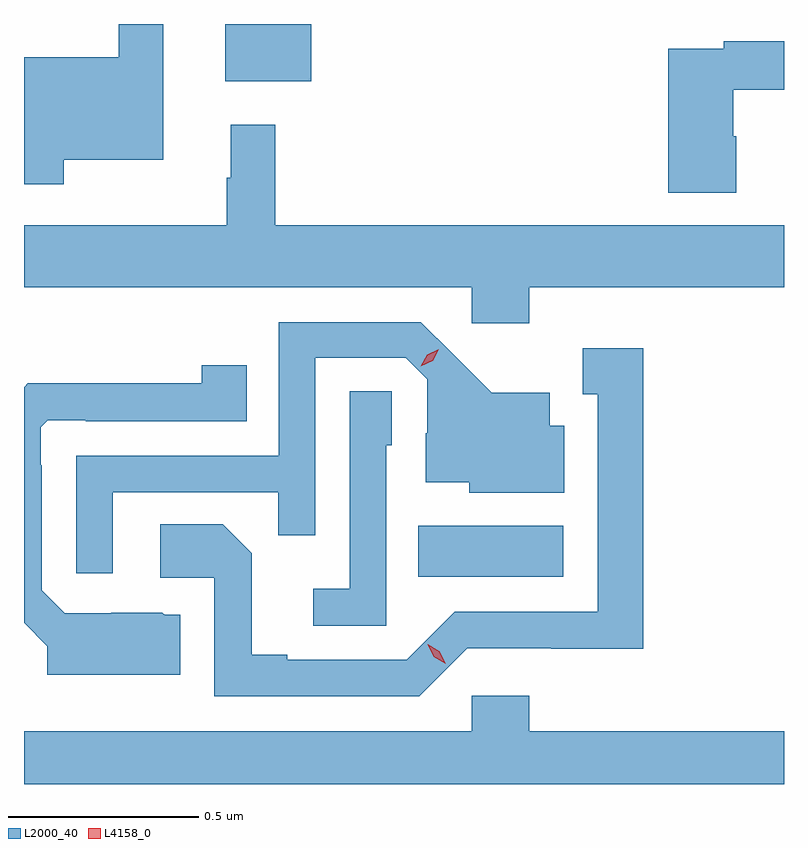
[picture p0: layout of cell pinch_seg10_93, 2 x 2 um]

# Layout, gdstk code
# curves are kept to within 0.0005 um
import gdstk
lib = gdstk.Library(unit=1e-6, precision=1e-09)
def R(c, l, rs):  # rectangles x0, y0, x1, y1
    for r in rs: c.add(gdstk.rectangle(r[:2], r[2:], *l))
def P(c, l, *ps):  # polygons
    for p in ps: c.add(gdstk.Polygon(p, *l))
L2000_40 = (2000, 40)
L4158_0 = (4158, 0)

pinch_seg10_93 = lib.new_cell('pinch_seg10_93')
R(pinch_seg10_93, L2000_40, [(731.44,1288.898,731.821,1289.032), (730.931,1290.203,731.158,1290.353)])
P(pinch_seg10_93, L2000_40, [(730.507,1289.996),(730.768,1289.996),(730.768,1290.353),(730.651,1290.353),(730.651,1290.265),(730.402,1290.265),(730.402,1289.931),(730.507,1289.931)],
  [(732.276,1290.057),(732.268,1290.057),(732.268,1290.18),(732.402,1290.18),(732.402,1290.308),(732.244,1290.308),(732.244,1290.288),(732.098,1290.288),(732.098,1289.909),(732.276,1289.909)],
  [(731.732,1289.66),(732.402,1289.66),(732.402,1289.824),(731.063,1289.824),(731.063,1290.088),(730.946,1290.088),(730.946,1289.948),(730.935,1289.948),(730.935,1289.824),(730.402,1289.824),(730.402,1289.66),(731.58,1289.66),(731.58,1289.565),(731.732,1289.565)],
  [(730.635,1289.121),(731.071,1289.121),(731.071,1289.008),(731.169,1289.008),(731.169,1289.475),(731.406,1289.475),(731.463,1289.418),(731.463,1289.276),(731.459,1289.276),(731.459,1289.147),(731.574,1289.147),(731.574,1289.12),(731.824,1289.12),(731.824,1289.296),(731.785,1289.296),(731.785,1289.383),(731.633,1289.383),(731.446,1289.568),(731.073,1289.568),(731.073,1289.217),(730.539,1289.217),(730.539,1288.908),(730.635,1288.908)],
  [(731.568,1288.71),(731.79,1288.71),(731.79,1288.709),(732.031,1288.709),(732.031,1289.5),(731.873,1289.5),(731.873,1289.379),(731.912,1289.379),(731.912,1288.806),(731.535,1288.806),(731.409,1288.68),(731.095,1288.68),(731.095,1288.693),(731.001,1288.693),(731.001,1288.96),(730.925,1289.036),(730.761,1289.036),(730.761,1288.896),(730.902,1288.896),(730.902,1288.584),(731.442,1288.584)],
  [(730.813,1288.798),(730.772,1288.798),(730.766,1288.804),(730.632,1288.804),(730.632,1288.803),(730.509,1288.803),(730.449,1288.863),(730.449,1289.192),(730.446,1289.192),(730.446,1289.292),(730.464,1289.31),(730.564,1289.31),(730.564,1289.307),(730.988,1289.307),(730.988,1289.455),(730.87,1289.455),(730.87,1289.408),(730.513,1289.408),(730.513,1289.407),(730.412,1289.407),(730.402,1289.397),(730.402,1288.777),(730.463,1288.716),(730.463,1288.64),(730.813,1288.64)],
  [(731.355,1289.244),(731.37,1289.244),(731.37,1289.387),(731.259,1289.387),(731.259,1288.867),(731.163,1288.867),(731.163,1288.77),(731.355,1288.77)],
  [(732.402,1288.492),(731.732,1288.492),(731.732,1288.585),(731.58,1288.585),(731.58,1288.492),(730.402,1288.492),(730.402,1288.353),(732.402,1288.353)])
P(pinch_seg10_93, L4158_0, [(731.512,1288.669),(731.48,1288.688),(731.464,1288.721),(731.464,1288.721),(731.464,1288.721),(731.495,1288.702),(731.512,1288.669),(731.512,1288.669)],
  [(731.446,1289.452),(731.446,1289.452),(731.463,1289.482),(731.494,1289.497),(731.494,1289.497),(731.494,1289.497),(731.477,1289.467),(731.446,1289.452)])

lib.write_gds('pinch_seg10_93.gds')
